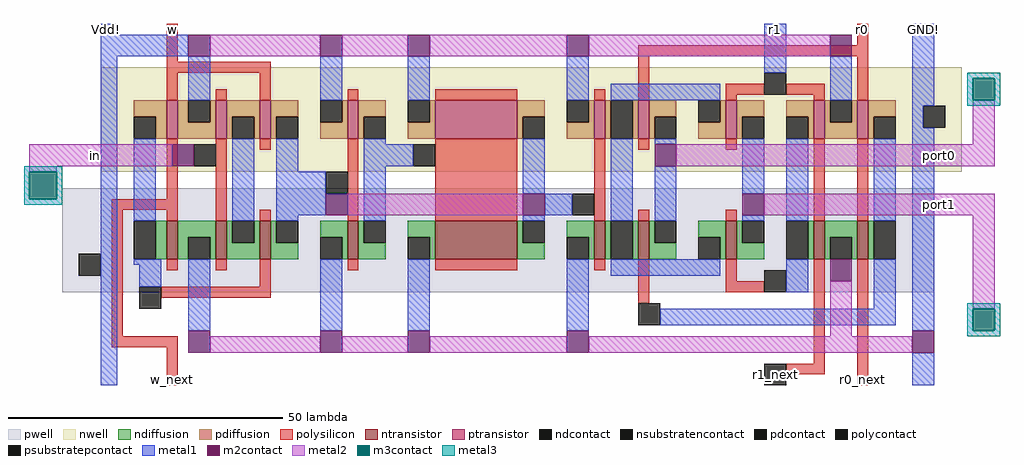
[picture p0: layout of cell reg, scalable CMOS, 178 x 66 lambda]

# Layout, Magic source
magic
tech scmos
<< nwell >>
rect 14 39 171 58
<< pwell >>
rect 7 17 166 36
<< ntransistor >>
rect 26 23 28 30
rect 35 23 37 30
rect 43 23 45 30
rect 59 23 61 30
rect 75 23 90 30
rect 104 23 106 30
rect 112 23 114 30
rect 128 23 130 30
rect 144 23 146 30
rect 152 23 154 30
<< ptransistor >>
rect 26 45 28 52
rect 35 45 37 52
rect 43 45 45 52
rect 59 45 61 52
rect 75 45 90 52
rect 104 45 106 52
rect 112 45 114 52
rect 128 45 130 52
rect 144 45 146 52
rect 152 45 154 52
<< ndiffusion >>
rect 24 23 26 30
rect 28 27 35 30
rect 28 23 30 27
rect 34 23 35 27
rect 37 26 38 30
rect 42 26 43 30
rect 37 23 43 26
rect 45 26 46 30
rect 45 23 50 26
rect 54 27 59 30
rect 58 23 59 27
rect 61 26 62 30
rect 61 23 66 26
rect 70 27 75 30
rect 74 23 75 27
rect 90 26 91 30
rect 90 23 95 26
rect 99 27 104 30
rect 103 23 104 27
rect 106 23 107 30
rect 111 23 112 30
rect 114 26 115 30
rect 114 23 119 26
rect 123 27 128 30
rect 127 23 128 27
rect 130 26 131 30
rect 130 23 135 26
rect 143 23 144 30
rect 146 27 152 30
rect 146 23 147 27
rect 151 23 152 27
rect 154 23 155 30
<< pdiffusion >>
rect 20 49 26 52
rect 24 45 26 49
rect 28 48 30 52
rect 34 48 35 52
rect 28 45 35 48
rect 37 49 43 52
rect 37 45 38 49
rect 42 45 43 49
rect 45 49 50 52
rect 45 45 46 49
rect 58 48 59 52
rect 54 45 59 48
rect 61 49 66 52
rect 61 45 62 49
rect 74 48 75 52
rect 70 45 75 48
rect 90 49 95 52
rect 90 45 91 49
rect 103 48 104 52
rect 99 45 104 48
rect 106 45 107 52
rect 111 45 112 52
rect 114 49 119 52
rect 114 45 115 49
rect 127 48 128 52
rect 123 45 128 48
rect 130 49 135 52
rect 130 45 131 49
rect 139 49 144 52
rect 143 45 144 49
rect 146 48 147 52
rect 151 48 152 52
rect 146 45 152 48
rect 154 49 159 52
rect 154 45 155 49
<< ndcontact >>
rect 20 23 24 30
rect 30 23 34 27
rect 38 26 42 30
rect 46 26 50 30
rect 54 23 58 27
rect 62 26 66 30
rect 70 23 74 27
rect 91 26 95 30
rect 99 23 103 27
rect 107 23 111 30
rect 115 26 119 30
rect 123 23 127 27
rect 131 26 135 30
rect 139 23 143 30
rect 147 23 151 27
rect 155 23 159 30
<< pdcontact >>
rect 20 45 24 49
rect 30 48 34 52
rect 38 45 42 49
rect 46 45 50 49
rect 54 48 58 52
rect 62 45 66 49
rect 70 48 74 52
rect 91 45 95 49
rect 99 48 103 52
rect 107 45 111 52
rect 115 45 119 49
rect 123 48 127 52
rect 131 45 135 49
rect 139 45 143 49
rect 147 48 151 52
rect 155 45 159 49
<< psubstratepcontact >>
rect 10 20 14 24
<< nsubstratencontact >>
rect 164 47 168 51
<< polysilicon >>
rect 26 59 28 66
rect 152 62 154 66
rect 112 60 154 62
rect 26 57 45 59
rect 26 52 28 57
rect 35 52 37 54
rect 43 52 45 57
rect 59 52 61 54
rect 75 52 90 54
rect 104 52 106 54
rect 112 52 114 60
rect 128 53 135 55
rect 139 53 146 55
rect 128 52 130 53
rect 144 52 146 53
rect 152 52 154 60
rect 26 34 28 45
rect 16 32 28 34
rect 16 9 18 32
rect 26 30 28 32
rect 35 30 37 45
rect 43 43 45 45
rect 43 30 45 32
rect 59 30 61 45
rect 75 30 90 45
rect 104 30 106 45
rect 112 43 114 45
rect 128 43 130 45
rect 112 30 114 32
rect 128 30 130 32
rect 144 30 146 45
rect 152 30 154 45
rect 26 21 28 23
rect 35 21 37 23
rect 43 18 45 23
rect 59 21 61 23
rect 75 21 90 23
rect 104 21 106 23
rect 25 16 45 18
rect 112 15 114 23
rect 128 19 130 23
rect 128 17 135 19
rect 16 7 28 9
rect 26 0 28 7
rect 144 4 146 23
rect 139 2 146 4
rect 152 0 154 23
<< polycontact >>
rect 135 53 139 57
rect 31 40 35 44
rect 55 35 59 39
rect 71 40 75 44
rect 100 31 104 35
rect 21 14 25 18
rect 135 17 139 21
rect 112 11 116 15
rect 135 0 139 4
<< metal1 >>
rect 14 64 17 66
rect 14 60 30 64
rect 14 0 17 60
rect 30 52 34 60
rect 54 52 58 60
rect 20 30 24 45
rect 38 30 42 45
rect 70 52 74 60
rect 46 39 50 45
rect 99 52 103 60
rect 135 57 139 66
rect 62 44 66 45
rect 107 52 127 55
rect 62 40 71 44
rect 46 31 55 39
rect 46 30 50 31
rect 62 30 66 40
rect 20 22 25 23
rect 21 18 25 22
rect 30 10 34 23
rect 91 35 95 45
rect 95 31 100 35
rect 91 30 95 31
rect 54 10 58 23
rect 107 30 111 45
rect 70 10 74 23
rect 99 10 103 23
rect 147 52 151 60
rect 115 44 119 45
rect 115 30 119 40
rect 131 35 135 45
rect 131 30 135 31
rect 162 51 166 66
rect 139 30 143 45
rect 107 20 127 23
rect 155 30 159 45
rect 139 17 143 23
rect 155 14 159 23
rect 116 11 159 14
rect 162 47 164 51
rect 162 10 166 47
rect 162 0 166 6
<< m2contact >>
rect 30 60 34 64
rect 54 60 58 64
rect 27 40 31 44
rect 70 60 74 64
rect 99 60 103 64
rect 147 60 151 64
rect 55 31 59 35
rect 30 6 34 10
rect 91 31 95 35
rect 54 6 58 10
rect 70 6 74 10
rect 115 40 119 44
rect 131 31 135 35
rect 147 19 151 23
rect 99 6 103 10
rect 162 6 166 10
<< metal2 >>
rect 34 60 54 64
rect 58 60 70 64
rect 74 60 99 64
rect 103 60 147 64
rect 173 44 177 52
rect 1 40 27 44
rect 119 40 177 44
rect 1 39 6 40
rect 59 31 91 35
rect 135 31 177 35
rect 34 6 54 9
rect 58 6 70 9
rect 74 6 99 9
rect 147 9 151 19
rect 173 14 177 31
rect 103 6 162 9
<< m3contact >>
rect 173 52 177 56
rect 1 34 6 39
rect 173 10 177 14
<< metal3 >>
rect 172 56 178 57
rect 172 52 173 56
rect 177 52 178 56
rect 172 51 178 52
rect 0 39 7 40
rect 0 34 1 39
rect 6 34 7 39
rect 0 33 7 34
rect 172 14 178 15
rect 172 10 173 14
rect 177 10 178 14
rect 172 9 178 10
<< labels >>
rlabel polysilicon 27 65 27 65 5 w
rlabel metal1 15 65 15 65 4 Vdd!
rlabel metal2 13 42 13 42 3 in
rlabel metal2 167 33 167 33 7 port1
rlabel metal1 137 65 137 65 5 r1
rlabel polysilicon 153 65 153 65 5 r0
rlabel metal1 164 65 164 65 6 GND!
rlabel metal2 167 42 167 42 7 port0
rlabel polysilicon 26 0 28 2 1 w_next
rlabel polycontact 135 0 139 4 1 r1_next
rlabel polysilicon 152 0 154 2 1 r0_next
<< end >>
